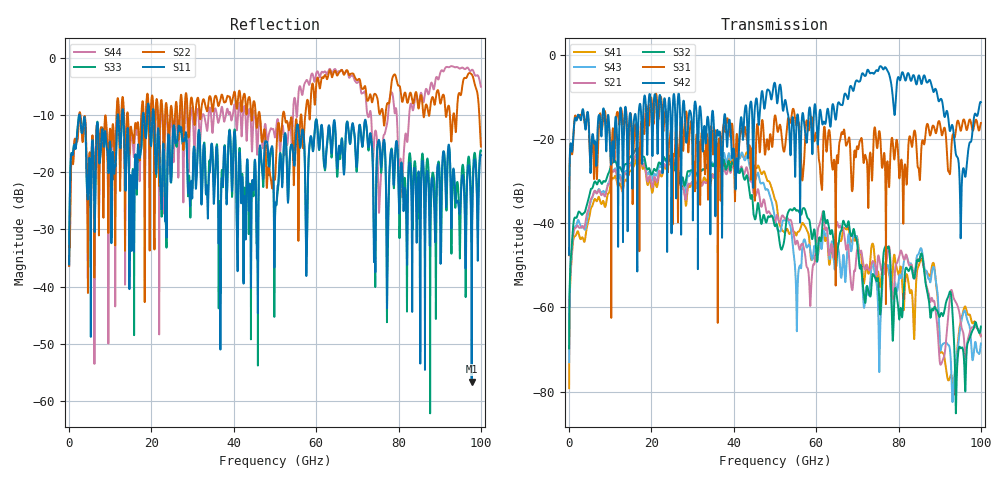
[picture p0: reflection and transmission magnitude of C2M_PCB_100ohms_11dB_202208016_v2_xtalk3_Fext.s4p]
! Info: Touchstone file created by Circ.  Input file=Intel_C2M_200G_2p0in_202208016_staggered.circ
# Hz S RI R 50
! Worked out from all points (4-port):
!   10000 points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, 10 MHz to 100 GHz, reference 50 ohm
!   strongest paths, dB at 10 MHz, 25.01 GHz, 50.01 GHz, 75.01 GHz, 100 GHz:
!     S42: -47.5, -19.6, -6.9, -3.9, -11.3
!     S31: -47.6, -24.2, -14.4, -20.8, -16.2
!     S32: -69.7, -24.7, -40.7, -53.2, -64.6
!     S21: -68.5, -26.8, -40.0, -48.0, -66.9
!     S43: -73.0, -25.1, -38.7, -59.2, -68.6
!     S41: -79.2, -26.9, -34.4, -51.5, -66.9
!   lowest |S11| = -56.6 dB at 97.76 GHz (marker M1), VSWR 1.00, Z = 50.1 - j0.0538 ohm
!   |S11| at or under -10 dB: 2.597 GHz to 11.77 GHz (9.169 GHz wide, 128 % of centre); 13.21 GHz to 17.89 GHz (4.682 GHz wide, 30.1 % of centre); 20.6 GHz to end of sweep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
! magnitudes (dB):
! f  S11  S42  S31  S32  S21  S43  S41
! 10 MHz  -36.1  -47.5  -47.6  -69.7  -68.5  -73.0  -79.2
! 1.29 GHz  -15.2  -16.0  -15.6  -38.8  -41.5  -41.0  -43.2
! 10.71 GHz  -17.0  -21.7  -17.7  -25.6  -27.8  -27.4  -29.4
! 40.69 GHz  -27.8  -25.0  -19.0  -25.9  -26.3  -23.0  -23.9
! 55.33 GHz  -11.9  -14.9  -16.6  -37.0  -44.2  -65.2  -42.5
! 97.76 GHz  -56.6  -20.0  -17.0  -65.9  -64.7  -70.7  -63.4
! 100 GHz  -16.9  -11.3  -16.2  -64.6  -66.9  -68.6  -66.9
